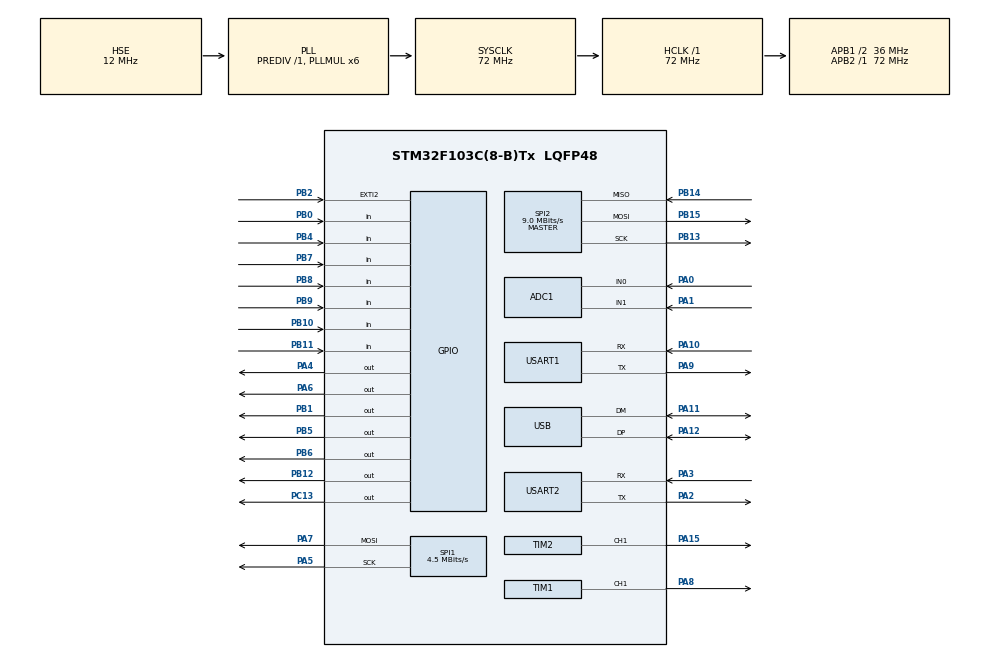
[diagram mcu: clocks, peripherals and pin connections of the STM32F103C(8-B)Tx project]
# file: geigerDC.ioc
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ADC1.Channel-1\#ChannelRegularConversion=ADC_CHANNEL_1
ADC1.NbrOfConversionFlag=1
ADC1.Rank-1\#ChannelRegularConversion=1
ADC1.SamplingTime-1\#ChannelRegularConversion=ADC_SAMPLETIME_1CYCLE_5
ADC1.master=1
FREERTOS.Tasks01=defaultTask,24,128,StartDefaultTask,Default,NULL,Dynamic,NULL,NULL
Mcu.Family=STM32F1
Mcu.Name=STM32F103C(8-B)Tx
Mcu.Package=LQFP48
NVIC.PriorityGroup=NVIC_PRIORITYGROUP_4
NVIC.TIM3_IRQn=true\:0\:0\:false\:false\:true\:false\:false\:true
NVIC.TimeBase=TIM3_IRQn
NVIC.TimeBaseIP=TIM3
PA0-WKUP.Signal=ADCx_IN0
PA1.Signal=ADCx_IN1
PA10.Mode=Asynchronous
PA10.Signal=USART1_RX
PA11.Mode=Device
PA11.Signal=USB_DM
PA12.Mode=Device
PA12.Signal=USB_DP
PA13.Mode=Serial_Wire
PA13.Signal=SYS_JTMS-SWDIO
PA14.Mode=Serial_Wire
PA14.Signal=SYS_JTCK-SWCLK
PA15.Signal=S_TIM2_CH1_ETR
PA2.Mode=Asynchronous
PA2.Signal=USART2_TX
PA3.Mode=Asynchronous
PA3.Signal=USART2_RX
PA4.Signal=GPIO_Output
PA5.Mode=TX_Only_Simplex_Unidirect_Master
PA5.Signal=SPI1_SCK
PA6.Signal=GPIO_Output
PA7.Mode=TX_Only_Simplex_Unidirect_Master
PA7.Signal=SPI1_MOSI
PA8.Signal=S_TIM1_CH1
PA9.Mode=Asynchronous
PA9.Signal=USART1_TX
PB0.Signal=GPIO_Input
PB1.Signal=GPIO_Output
PB10.Signal=GPIO_Input
PB11.Signal=GPIO_Input
PB12.Signal=GPIO_Output
PB13.Mode=Full_Duplex_Master
PB13.Signal=SPI2_SCK
PB14.Mode=Full_Duplex_Master
PB14.Signal=SPI2_MISO
PB15.Mode=Full_Duplex_Master
PB15.Signal=SPI2_MOSI
PB2.GPIO_ModeDefaultEXTI=GPIO_MODE_IT_FALLING
PB2.Signal=GPXTI2
PB3.Signal=SYS_JTDO-TRACESWO
PB4.Signal=GPIO_Input
PB5.Signal=GPIO_Output
PB6.Signal=GPIO_Output
PB7.Signal=GPIO_Input
PB8.Signal=GPIO_Input
PB9.Signal=GPIO_Input
PC13-TAMPER-RTC.Signal=GPIO_Output
PC14-OSC32_IN.Mode=LSE-External-Oscillator
PC14-OSC32_IN.Signal=RCC_OSC32_IN
PC15-OSC32_OUT.Mode=LSE-External-Oscillator
PC15-OSC32_OUT.Signal=RCC_OSC32_OUT
PD0-OSC_IN.Mode=HSE-External-Oscillator
PD0-OSC_IN.Signal=RCC_OSC_IN
PD1-OSC_OUT.Mode=HSE-External-Oscillator
PD1-OSC_OUT.Signal=RCC_OSC_OUT
ProjectManager.HeapSize=0x200
ProjectManager.StackSize=0x400
ProjectManager.TargetToolchain=STM32CubeIDE
RCC.ADCPresc=RCC_ADCPCLK2_DIV6
RCC.AHBFreq_Value=72000000
RCC.APB1CLKDivider=RCC_HCLK_DIV2
RCC.APB1Freq_Value=36000000
RCC.APB1TimFreq_Value=72000000
RCC.APB2Freq_Value=72000000
RCC.APB2TimFreq_Value=72000000
RCC.HCLKFreq_Value=72000000
RCC.HSE_VALUE=12000000
RCC.PLLMUL=RCC_PLL_MUL6
RCC.RTCClockSelection=RCC_RTCCLKSOURCE_LSE
RCC.SYSCLKFreq_VALUE=72000000
RCC.SYSCLKSource=RCC_SYSCLKSOURCE_PLLCLK
RCC.USBFreq_Value=48000000
RCC.USBPrescaler=RCC_USBCLKSOURCE_PLL_DIV1_5
SH.ADCx_IN0.0=ADC1_IN0,IN0
SH.ADCx_IN1.0=ADC1_IN1,IN1
SH.S_TIM1_CH1.0=TIM1_CH1,PWM Generation1 CH1
SH.S_TIM2_CH1_ETR.0=TIM2_CH1,PWM Generation1 CH1
SPI1.BaudRatePrescaler=SPI_BAUDRATEPRESCALER_16
SPI1.CalculateBaudRate=4.5 MBits/s
SPI1.Direction=SPI_DIRECTION_2LINES
SPI1.Mode=SPI_MODE_MASTER
SPI1.VirtualType=VM_MASTER
SPI2.BaudRatePrescaler=SPI_BAUDRATEPRESCALER_4
SPI2.CalculateBaudRate=9.0 MBits/s
SPI2.Direction=SPI_DIRECTION_2LINES
SPI2.Mode=SPI_MODE_MASTER
SPI2.VirtualType=VM_MASTER
TIM1.Channel-PWM\ Generation1\ CH1=TIM_CHANNEL_1
TIM1.Period=65535
TIM1.Prescaler=9
TIM2.Channel-PWM\ Generation1\ CH1=TIM_CHANNEL_1
TIM4.Period=65535
TIM4.Prescaler=0x0
USART1.VirtualMode=VM_ASYNC
USART2.VirtualMode=VM_ASYNC
VP_FREERTOS_VS_CMSIS_V2.Mode=CMSIS_V2
VP_RTC_VS_RTC_Activate.Mode=RTC_Enabled
VP_RTC_VS_RTC_Calendar.Mode=RTC_Calendar
VP_SYS_VS_tim3.Mode=TIM3
VP_TIM1_VS_ClockSourceINT.Mode=Internal
VP_TIM2_VS_ClockSourceINT.Mode=Internal
VP_TIM4_VS_ClockSourceINT.Mode=Internal
board=custom

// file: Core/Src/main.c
/* USER CODE BEGIN Header */
/**
  ******************************************************************************
  * @file           : main.c
  * @brief          : Main program body
  ******************************************************************************
  * @attention
  *
  * <h2><center>&copy; Copyright (c) 2020 STMicroelectronics.
  * All rights reserved.</center></h2>
  *
  * This software component is licensed by ST under BSD 3-Clause license,
  * the "License"; You may not use this file except in compliance with the
  * License. You may obtain a copy of the License at:
  *                        opensource.org/licenses/BSD-3-Clause
  *
  ******************************************************************************
  */
/* USER CODE END Header */

#include "main.h"
#include "cmsis_os.h"

/* USER CODE BEGIN Includes */
#include "counter.h"
/* USER CODE END Includes */

/* USER CODE BEGIN PD */
#define A2 65463
#define Bb2 61779
#define B2 58312
#define C3 55039
#define Db3 51950
#define D3 49035
#define Eb3 46282
#define E3 43685
#define F3 41233
#define Gb3 38919
#define G3 36734
#define Ab3 34672
#define A3 	(A2 / 2)
#define Bb3 	(Bb2 / 2)
#define B3 	(B2 / 2)
#define C4 	(C3 / 2)
#define Db4 	(Db3 / 2)
#define D4 	(D3 / 2)
#define Eb4 	(Eb3 / 2)
#define E4 	(E3 / 2)
#define F4 	(F3 / 2)
#define Gb4 	(Gb3 / 2)
#define G4 	(G3 / 2)
#define Ab4 	(Ab3 / 2)
#define A4 	(A3 / 2)
#define Bb4 	(Bb3 / 2)
#define B4 	(B3 / 2)
#define C5 	(C4 / 2)
#define Db5 	(Db4 / 2)
#define D5 	(D4 / 2)
#define Eb5 	(Eb4 / 2)
#define E5 	(E4 / 2)
#define F5 	(F4 / 2)
#define Gb5 	(Gb4 / 2)
#define G5 	(G4 / 2)
#define Ab5 	(Ab4 / 2)
#define A5 	(A4 / 2)
#define Bb5 	(Bb4 / 2)
#define B5 	(B4 / 2)
#define C6 	(C5 / 2)
#define Db6 	(Db5 / 2)
#define D6 	(D5 / 2)
#define Eb6 	(Eb5 / 2)
#define E6 	(E5 / 2)
#define F6 	(F5 / 2)
#define Gb6 	(Gb5 / 2)
#define G6 	(G5 / 2)
#define Ab6 	(Ab5 / 2)
#define A6 	(A5 / 2)
#define Bb6 	(Bb5 / 2)
#define B6 	(B5 / 2)
#define C7 	(C6 / 2)
#define Db7 	(Db6 / 2)
#define D7 	(D6 / 2)
#define Eb7 	(Eb6 / 2)
#define E7 	(E6 / 2)
#define F7 	(F6 / 2)
#define Gb7 	(Gb6 / 2)
#define G7 	(G6 / 2)
#define Ab7 	(Ab6 / 2)
#define A7 	(A6 / 2)

/* USER CODE END PD */

ADC_HandleTypeDef hadc1;

RTC_HandleTypeDef hrtc;

SPI_HandleTypeDef hspi1;
SPI_HandleTypeDef hspi2;

TIM_HandleTypeDef htim1;
TIM_HandleTypeDef htim2;
TIM_HandleTypeDef htim4;

UART_HandleTypeDef huart1;
UART_HandleTypeDef huart2;

PCD_HandleTypeDef hpcd_USB_FS;

/* Definitions for defaultTask */
osThreadId_t defaultTaskHandle;
const osThreadAttr_t defaultTask_attributes = {
  .name = "defaultTask",
  .priority = (osPriority_t) osPriorityNormal,
  .stack_size = 128 * 4
};
/* USER CODE BEGIN PV */

void StartBuzzerTask(void * argument)
{
	while(1)
	{
		counter_enableHV();
		HAL_TIM_PWM_Start(&htim1,  TIM_CHANNEL_1);
		TIM1->ARR = C5;
		osDelay(200);
		TIM1->ARR = D5;
		osDelay(200);
		TIM1->ARR = E5;
		osDelay(200);
		TIM1->ARR = F5;
		osDelay(200);
		TIM1->ARR = G5;
		osDelay(200);
		TIM1->ARR = A5;
		osDelay(200);
		TIM1->ARR = B5;
		osDelay(200);
		TIM1->ARR = C5;
		osDelay(200);
		HAL_TIM_PWM_Stop(&htim1,  TIM_CHANNEL_1);
		osDelay(5000);

		HAL_TIM_PWM_Start(&htim1,  TIM_CHANNEL_1);
		TIM1->ARR = C5;
		osDelay(200);
		TIM1->ARR = E5;
		osDelay(200);
		TIM1->ARR = G5;
		osDelay(200);
		HAL_TIM_PWM_Stop(&htim1,  TIM_CHANNEL_1);
		osDelay(5000);

		HAL_TIM_PWM_Start(&htim1,  TIM_CHANNEL_1);
		TIM1->ARR = C5;
		osDelay(200);
		TIM1->ARR = Eb5;
		osDelay(200);
		TIM1->ARR = G5;
		osDelay(200);
		HAL_TIM_PWM_Stop(&htim1,  TIM_CHANNEL_1);
		counter_disableHV();
		osDelay(5000);

		//HAL_Delay(50);
		//HAL_GPIO_WritePin(GPIOA, GPIO_PIN_8, GPIO_PIN_SET);
		//osDelay(1);
		//HAL_GPIO_WritePin(GPIOA, GPIO_PIN_8, GPIO_PIN_RESET);
	}

}

osThreadId_t buzzerTaskHandle;
const osThreadAttr_t buzzerTask_attributes = {
  .name = "buzzerTask",
  .priority = (osPriority_t) osPriorityNormal,
  .stack_size = 16
};
/* USER CODE END PV */

void SystemClock_Config(void);
static void MX_GPIO_Init(void);
static void MX_ADC1_Init(void);
static void MX_RTC_Init(void);
static void MX_SPI1_Init(void);
static void MX_SPI2_Init(void);
static void MX_USART1_UART_Init(void);
static void MX_USART2_UART_Init(void);
static void MX_USB_PCD_Init(void);
static void MX_TIM1_Init(void);
static void MX_TIM2_Init(void);
static void MX_TIM4_Init(void);
void StartDefaultTask(void *argument);

int main(void)
{

  /* MCU Configuration--------------------------------------------------------*/

  /* Reset of all peripherals, Initializes the Flash interface and the Systick. */
  HAL_Init();

  /* Configure the system clock */
  SystemClock_Config();

  /* USER CODE BEGIN SysInit */
  HAL_Delay(500);
  /* USER CODE END SysInit */

  /* Initialize all configured peripherals */
  MX_GPIO_Init();
  MX_ADC1_Init();
  MX_RTC_Init();
  MX_SPI1_Init();
  MX_SPI2_Init();
  MX_USART1_UART_Init();
  MX_USART2_UART_Init();
  MX_USB_PCD_Init();
  MX_TIM1_Init();
  MX_TIM2_Init();
  MX_TIM4_Init();
  /* USER CODE BEGIN 2 */
  HAL_TIM_Base_Start_IT(&htim4);
  HAL_GPIO_WritePin(GPIOB, GPIO_PIN_1, GPIO_PIN_SET);
  HAL_TIM_PWM_Start(&htim1,  TIM_CHANNEL_1);
  HAL_TIM_PWM_Start(&htim2,  TIM_CHANNEL_1);
  TIM1->CCR1 = 500;
  TIM2->CCR1 = 500;
  NVIC_SetPriority(EXTI2_IRQn, 0);
  NVIC_EnableIRQ(EXTI2_IRQn);
  /* USER CODE END 2 */

  /* Init scheduler */
  osKernelInitialize();

  /* Create the thread(s) */
  /* creation of defaultTask */
  defaultTaskHandle = osThreadNew(StartDefaultTask, NULL, &defaultTask_attributes);

  /* USER CODE BEGIN RTOS_THREADS */
  /* add threads, ... */
  buzzerTaskHandle = osThreadNew(StartBuzzerTask, NULL, &defaultTask_attributes);
  /* USER CODE END RTOS_THREADS */

  /* Start scheduler */
  osKernelStart();

  /* We should never get here as control is now taken by the scheduler */
  /* Infinite loop */
  while (1)
  {

  }
}

void SystemClock_Config(void)
{
  RCC_OscInitTypeDef RCC_OscInitStruct = {0};
  RCC_ClkInitTypeDef RCC_ClkInitStruct = {0};
  RCC_PeriphCLKInitTypeDef PeriphClkInit = {0};

  /** Initializes the CPU, AHB and APB busses clocks
  */
  RCC_OscInitStruct.OscillatorType = RCC_OSCILLATORTYPE_HSE|RCC_OSCILLATORTYPE_LSE;
  RCC_OscInitStruct.HSEState = RCC_HSE_ON;
  RCC_OscInitStruct.HSEPredivValue = RCC_HSE_PREDIV_DIV1;
  RCC_OscInitStruct.LSEState = RCC_LSE_ON;
  RCC_OscInitStruct.HSIState = RCC_HSI_ON;
  RCC_OscInitStruct.PLL.PLLState = RCC_PLL_ON;
  RCC_OscInitStruct.PLL.PLLSource = RCC_PLLSOURCE_HSE;
  RCC_OscInitStruct.PLL.PLLMUL = RCC_PLL_MUL6;
  if (HAL_RCC_OscConfig(&RCC_OscInitStruct) != HAL_OK)
  {
    Error_Handler();
  }
  /** Initializes the CPU, AHB and APB busses clocks
  */
  RCC_ClkInitStruct.ClockType = RCC_CLOCKTYPE_HCLK|RCC_CLOCKTYPE_SYSCLK
                              |RCC_CLOCKTYPE_PCLK1|RCC_CLOCKTYPE_PCLK2;
  RCC_ClkInitStruct.SYSCLKSource = RCC_SYSCLKSOURCE_PLLCLK;
  RCC_ClkInitStruct.AHBCLKDivider = RCC_SYSCLK_DIV1;
  RCC_ClkInitStruct.APB1CLKDivider = RCC_HCLK_DIV2;
  RCC_ClkInitStruct.APB2CLKDivider = RCC_HCLK_DIV1;

  if (HAL_RCC_ClockConfig(&RCC_ClkInitStruct, FLASH_LATENCY_2) != HAL_OK)
  {
    Error_Handler();
  }
  PeriphClkInit.PeriphClockSelection = RCC_PERIPHCLK_RTC|RCC_PERIPHCLK_ADC
                              |RCC_PERIPHCLK_USB;
  PeriphClkInit.RTCClockSelection = RCC_RTCCLKSOURCE_LSE;
  PeriphClkInit.AdcClockSelection = RCC_ADCPCLK2_DIV6;
  PeriphClkInit.UsbClockSelection = RCC_USBCLKSOURCE_PLL_DIV1_5;
  if (HAL_RCCEx_PeriphCLKConfig(&PeriphClkInit) != HAL_OK)
  {
    Error_Handler();
  }
}

static void MX_ADC1_Init(void)
{

  ADC_ChannelConfTypeDef sConfig = {0};

  /** Common config
  */
  hadc1.Instance = ADC1;
  hadc1.Init.ScanConvMode = ADC_SCAN_DISABLE;
  hadc1.Init.ContinuousConvMode = DISABLE;
  hadc1.Init.DiscontinuousConvMode = DISABLE;
  hadc1.Init.ExternalTrigConv = ADC_SOFTWARE_START;
  hadc1.Init.DataAlign = ADC_DATAALIGN_RIGHT;
  hadc1.Init.NbrOfConversion = 1;
  if (HAL_ADC_Init(&hadc1) != HAL_OK)
  {
    Error_Handler();
  }
  /** Configure Regular Channel
  */
  sConfig.Channel = ADC_CHANNEL_1;
  sConfig.Rank = ADC_REGULAR_RANK_1;
  sConfig.SamplingTime = ADC_SAMPLETIME_1CYCLE_5;
  if (HAL_ADC_ConfigChannel(&hadc1, &sConfig) != HAL_OK)
  {
    Error_Handler();
  }

}

static void MX_RTC_Init(void)
{

  RTC_TimeTypeDef sTime = {0};
  RTC_DateTypeDef DateToUpdate = {0};

  /** Initialize RTC Only
  */
  hrtc.Instance = RTC;
  hrtc.Init.AsynchPrediv = RTC_AUTO_1_SECOND;
  hrtc.Init.OutPut = RTC_OUTPUTSOURCE_ALARM;
  if (HAL_RTC_Init(&hrtc) != HAL_OK)
  {
    Error_Handler();
  }

  /** Initialize RTC and set the Time and Date
  */
  sTime.Hours = 0x0;
  sTime.Minutes = 0x0;
  sTime.Seconds = 0x0;

  if (HAL_RTC_SetTime(&hrtc, &sTime, RTC_FORMAT_BCD) != HAL_OK)
  {
    Error_Handler();
  }
  DateToUpdate.WeekDay = RTC_WEEKDAY_MONDAY;
  DateToUpdate.Month = RTC_MONTH_JANUARY;
  DateToUpdate.Date = 0x1;
  DateToUpdate.Year = 0x0;

  if (HAL_RTC_SetDate(&hrtc, &DateToUpdate, RTC_FORMAT_BCD) != HAL_OK)
  {
    Error_Handler();
  }

}

static void MX_SPI1_Init(void)
{

  /* SPI1 parameter configuration*/
  hspi1.Instance = SPI1;
  hspi1.Init.Mode = SPI_MODE_MASTER;
  hspi1.Init.Direction = SPI_DIRECTION_2LINES;
  hspi1.Init.DataSize = SPI_DATASIZE_8BIT;
  hspi1.Init.CLKPolarity = SPI_POLARITY_LOW;
  hspi1.Init.CLKPhase = SPI_PHASE_1EDGE;
  hspi1.Init.NSS = SPI_NSS_SOFT;
  hspi1.Init.BaudRatePrescaler = SPI_BAUDRATEPRESCALER_16;
  hspi1.Init.FirstBit = SPI_FIRSTBIT_MSB;
  hspi1.Init.TIMode = SPI_TIMODE_DISABLE;
  hspi1.Init.CRCCalculation = SPI_CRCCALCULATION_DISABLE;
  hspi1.Init.CRCPolynomial = 10;
  if (HAL_SPI_Init(&hspi1) != HAL_OK)
  {
    Error_Handler();
  }

}

static void MX_SPI2_Init(void)
{

  /* SPI2 parameter configuration*/
  hspi2.Instance = SPI2;
  hspi2.Init.Mode = SPI_MODE_MASTER;
  hspi2.Init.Direction = SPI_DIRECTION_2LINES;
  hspi2.Init.DataSize = SPI_DATASIZE_8BIT;
  hspi2.Init.CLKPolarity = SPI_POLARITY_LOW;
  hspi2.Init.CLKPhase = SPI_PHASE_1EDGE;
  hspi2.Init.NSS = SPI_NSS_SOFT;
  hspi2.Init.BaudRatePrescaler = SPI_BAUDRATEPRESCALER_4;
  hspi2.Init.FirstBit = SPI_FIRSTBIT_MSB;
  hspi2.Init.TIMode = SPI_TIMODE_DISABLE;
  hspi2.Init.CRCCalculation = SPI_CRCCALCULATION_DISABLE;
  hspi2.Init.CRCPolynomial = 10;
  if (HAL_SPI_Init(&hspi2) != HAL_OK)
  {
    Error_Handler();
  }

}

static void MX_TIM1_Init(void)
{

  TIM_ClockConfigTypeDef sClockSourceConfig = {0};
  TIM_MasterConfigTypeDef sMasterConfig = {0};
  TIM_OC_InitTypeDef sConfigOC = {0};
  TIM_BreakDeadTimeConfigTypeDef sBreakDeadTimeConfig = {0};

  htim1.Instance = TIM1;
  htim1.Init.Prescaler = 9;
  htim1.Init.CounterMode = TIM_COUNTERMODE_UP;
  htim1.Init.Period = 65535;
  htim1.Init.ClockDivision = TIM_CLOCKDIVISION_DIV1;
  htim1.Init.RepetitionCounter = 0;
  htim1.Init.AutoReloadPreload = TIM_AUTORELOAD_PRELOAD_DISABLE;
  if (HAL_TIM_Base_Init(&htim1) != HAL_OK)
  {
    Error_Handler();
  }
  sClockSourceConfig.ClockSource = TIM_CLOCKSOURCE_INTERNAL;
  if (HAL_TIM_ConfigClockSource(&htim1, &sClockSourceConfig) != HAL_OK)
  {
    Error_Handler();
  }
  if (HAL_TIM_PWM_Init(&htim1) != HAL_OK)
  {
    Error_Handler();
  }
  sMasterConfig.MasterOutputTrigger = TIM_TRGO_RESET;
  sMasterConfig.MasterSlaveMode = TIM_MASTERSLAVEMODE_DISABLE;
  if (HAL_TIMEx_MasterConfigSynchronization(&htim1, &sMasterConfig) != HAL_OK)
  {
    Error_Handler();
  }
  sConfigOC.OCMode = TIM_OCMODE_PWM1;
  sConfigOC.Pulse = 0;
  sConfigOC.OCPolarity = TIM_OCPOLARITY_HIGH;
  sConfigOC.OCNPolarity = TIM_OCNPOLARITY_HIGH;
  sConfigOC.OCFastMode = TIM_OCFAST_DISABLE;
  sConfigOC.OCIdleState = TIM_OCIDLESTATE_RESET;
  sConfigOC.OCNIdleState = TIM_OCNIDLESTATE_RESET;
  if (HAL_TIM_PWM_ConfigChannel(&htim1, &sConfigOC, TIM_CHANNEL_1) != HAL_OK)
  {
    Error_Handler();
  }
  sBreakDeadTimeConfig.OffStateRunMode = TIM_OSSR_DISABLE;
  sBreakDeadTimeConfig.OffStateIDLEMode = TIM_OSSI_DISABLE;
  sBreakDeadTimeConfig.LockLevel = TIM_LOCKLEVEL_OFF;
  sBreakDeadTimeConfig.DeadTime = 0;
  sBreakDeadTimeConfig.BreakState = TIM_BREAK_DISABLE;
  sBreakDeadTimeConfig.BreakPolarity = TIM_BREAKPOLARITY_HIGH;
  sBreakDeadTimeConfig.AutomaticOutput = TIM_AUTOMATICOUTPUT_DISABLE;
  if (HAL_TIMEx_ConfigBreakDeadTime(&htim1, &sBreakDeadTimeConfig) != HAL_OK)
  {
    Error_Handler();
  }
  HAL_TIM_MspPostInit(&htim1);

}

static void MX_TIM2_Init(void)
{

  TIM_ClockConfigTypeDef sClockSourceConfig = {0};
  TIM_MasterConfigTypeDef sMasterConfig = {0};
  TIM_OC_InitTypeDef sConfigOC = {0};

  htim2.Instance = TIM2;
  htim2.Init.Prescaler = 0;
  htim2.Init.CounterMode = TIM_COUNTERMODE_UP;
  htim2.Init.Period = 0;
  htim2.Init.ClockDivision = TIM_CLOCKDIVISION_DIV1;
  htim2.Init.AutoReloadPreload = TIM_AUTORELOAD_PRELOAD_DISABLE;
  if (HAL_TIM_Base_Init(&htim2) != HAL_OK)
  {
    Error_Handler();
  }
  sClockSourceConfig.ClockSource = TIM_CLOCKSOURCE_INTERNAL;
  if (HAL_TIM_ConfigClockSource(&htim2, &sClockSourceConfig) != HAL_OK)
  {
    Error_Handler();
  }
  if (HAL_TIM_PWM_Init(&htim2) != HAL_OK)
  {
    Error_Handler();
  }
  sMasterConfig.MasterOutputTrigger = TIM_TRGO_RESET;
  sMasterConfig.MasterSlaveMode = TIM_MASTERSLAVEMODE_DISABLE;
  if (HAL_TIMEx_MasterConfigSynchronization(&htim2, &sMasterConfig) != HAL_OK)
  {
    Error_Handler();
  }
  sConfigOC.OCMode = TIM_OCMODE_PWM1;
  sConfigOC.Pulse = 0;
  sConfigOC.OCPolarity = TIM_OCPOLARITY_HIGH;
  sConfigOC.OCFastMode = TIM_OCFAST_DISABLE;
  if (HAL_TIM_PWM_ConfigChannel(&htim2, &sConfigOC, TIM_CHANNEL_1) != HAL_OK)
  {
    Error_Handler();
  }
  HAL_TIM_MspPostInit(&htim2);

}

static void MX_TIM4_Init(void)
{

  TIM_ClockConfigTypeDef sClockSourceConfig = {0};
  TIM_MasterConfigTypeDef sMasterConfig = {0};

  htim4.Instance = TIM4;
  htim4.Init.Prescaler = 0x0;
  htim4.Init.CounterMode = TIM_COUNTERMODE_UP;
  htim4.Init.Period = 65535;
  htim4.Init.ClockDivision = TIM_CLOCKDIVISION_DIV1;
  htim4.Init.AutoReloadPreload = TIM_AUTORELOAD_PRELOAD_DISABLE;
  if (HAL_TIM_Base_Init(&htim4) != HAL_OK)
  {
    Error_Handler();
  }
  sClockSourceConfig.ClockSource = TIM_CLOCKSOURCE_INTERNAL;
  if (HAL_TIM_ConfigClockSource(&htim4, &sClockSourceConfig) != HAL_OK)
  {
    Error_Handler();
  }
  sMasterConfig.MasterOutputTrigger = TIM_TRGO_RESET;
  sMasterConfig.MasterSlaveMode = TIM_MASTERSLAVEMODE_DISABLE;
  if (HAL_TIMEx_MasterConfigSynchronization(&htim4, &sMasterConfig) != HAL_OK)
  {
    Error_Handler();
  }
  /* USER CODE BEGIN TIM4_Init 2 */
  NVIC_SetPriority(TIM4_IRQn, 0);
  NVIC_EnableIRQ(TIM4_IRQn);
  /* USER CODE END TIM4_Init 2 */

}

static void MX_USART1_UART_Init(void)
{

  huart1.Instance = USART1;
  huart1.Init.BaudRate = 115200;
  huart1.Init.WordLength = UART_WORDLENGTH_8B;
  huart1.Init.StopBits = UART_STOPBITS_1;
  huart1.Init.Parity = UART_PARITY_NONE;
  huart1.Init.Mode = UART_MODE_TX_RX;
  huart1.Init.HwFlowCtl = UART_HWCONTROL_NONE;
  huart1.Init.OverSampling = UART_OVERSAMPLING_16;
  if (HAL_UART_Init(&huart1) != HAL_OK)
  {
    Error_Handler();
  }

}

static void MX_USART2_UART_Init(void)
{

  huart2.Instance = USART2;
  huart2.Init.BaudRate = 115200;
  huart2.Init.WordLength = UART_WORDLENGTH_8B;
  huart2.Init.StopBits = UART_STOPBITS_1;
  huart2.Init.Parity = UART_PARITY_NONE;
  huart2.Init.Mode = UART_MODE_TX_RX;
  huart2.Init.HwFlowCtl = UART_HWCONTROL_NONE;
  huart2.Init.OverSampling = UART_OVERSAMPLING_16;
  if (HAL_UART_Init(&huart2) != HAL_OK)
  {
    Error_Handler();
  }

}

static void MX_USB_PCD_Init(void)
{

  hpcd_USB_FS.Instance = USB;
  hpcd_USB_FS.Init.dev_endpoints = 8;
  hpcd_USB_FS.Init.speed = PCD_SPEED_FULL;
  hpcd_USB_FS.Init.low_power_enable = DISABLE;
  hpcd_USB_FS.Init.lpm_enable = DISABLE;
  hpcd_USB_FS.Init.battery_charging_enable = DISABLE;
  if (HAL_PCD_Init(&hpcd_USB_FS) != HAL_OK)
  {
    Error_Handler();
  }

}

static void MX_GPIO_Init(void)
{
  GPIO_InitTypeDef GPIO_InitStruct = {0};

  /* GPIO Ports Clock Enable */
  __HAL_RCC_GPIOC_CLK_ENABLE();
  __HAL_RCC_GPIOD_CLK_ENABLE();
  __HAL_RCC_GPIOA_CLK_ENABLE();
  __HAL_RCC_GPIOB_CLK_ENABLE();

  /*Configure GPIO pin Output Level */
  HAL_GPIO_WritePin(GPIOC, GPIO_PIN_13, GPIO_PIN_RESET);

  /*Configure GPIO pin Output Level */
  HAL_GPIO_WritePin(GPIOA, GPIO_PIN_4|GPIO_PIN_6, GPIO_PIN_RESET);

  /*Configure GPIO pin Output Level */
  HAL_GPIO_WritePin(GPIOB, GPIO_PIN_1|GPIO_PIN_12|GPIO_PIN_5|GPIO_PIN_6, GPIO_PIN_RESET);

  /*Configure GPIO pin : PC13 */
  GPIO_InitStruct.Pin = GPIO_PIN_13;
  GPIO_InitStruct.Mode = GPIO_MODE_OUTPUT_PP;
  GPIO_InitStruct.Pull = GPIO_NOPULL;
  GPIO_InitStruct.Speed = GPIO_SPEED_FREQ_LOW;
  HAL_GPIO_Init(GPIOC, &GPIO_InitStruct);

  /*Configure GPIO pins : PA4 PA6 */
  GPIO_InitStruct.Pin = GPIO_PIN_4|GPIO_PIN_6;
  GPIO_InitStruct.Mode = GPIO_MODE_OUTPUT_PP;
  GPIO_InitStruct.Pull = GPIO_NOPULL;
  GPIO_InitStruct.Speed = GPIO_SPEED_FREQ_LOW;
  HAL_GPIO_Init(GPIOA, &GPIO_InitStruct);

  /*Configure GPIO pins : PB0 PB10 PB11 PB4
                           PB7 PB8 PB9 */
  GPIO_InitStruct.Pin = GPIO_PIN_0|GPIO_PIN_10|GPIO_PIN_11|GPIO_PIN_4
                          |GPIO_PIN_7|GPIO_PIN_8|GPIO_PIN_9;
  GPIO_InitStruct.Mode = GPIO_MODE_INPUT;
  GPIO_InitStruct.Pull = GPIO_NOPULL;
  HAL_GPIO_Init(GPIOB, &GPIO_InitStruct);

  /*Configure GPIO pins : PB1 PB12 PB5 PB6 */
  GPIO_InitStruct.Pin = GPIO_PIN_1|GPIO_PIN_12|GPIO_PIN_5|GPIO_PIN_6;
  GPIO_InitStruct.Mode = GPIO_MODE_OUTPUT_PP;
  GPIO_InitStruct.Pull = GPIO_NOPULL;
  GPIO_InitStruct.Speed = GPIO_SPEED_FREQ_LOW;
  HAL_GPIO_Init(GPIOB, &GPIO_InitStruct);

  /*Configure GPIO pin : PB2 */
  GPIO_InitStruct.Pin = GPIO_PIN_2;
  GPIO_InitStruct.Mode = GPIO_MODE_IT_FALLING;
  GPIO_InitStruct.Pull = GPIO_NOPULL;
  HAL_GPIO_Init(GPIOB, &GPIO_InitStruct);

}

void StartDefaultTask(void *argument)
{
  for(;;)
  {
    osDelay(1);
  }
}

 /**
  * @brief  Period elapsed callback in non blocking mode
  * @note   This function is called  when TIM3 interrupt took place, inside
  * HAL_TIM_IRQHandler(). It makes a direct call to HAL_IncTick() to increment
  * a global variable "uwTick" used as application time base.
  * @param  htim : TIM handle
  * @retval None
  */
void HAL_TIM_PeriodElapsedCallback(TIM_HandleTypeDef *htim)
{
  if (htim->Instance == TIM3) {
    HAL_IncTick();
  }
}

void Error_Handler(void)
{
}

/************************ (C) COPYRIGHT STMicroelectronics *****END OF FILE****/
